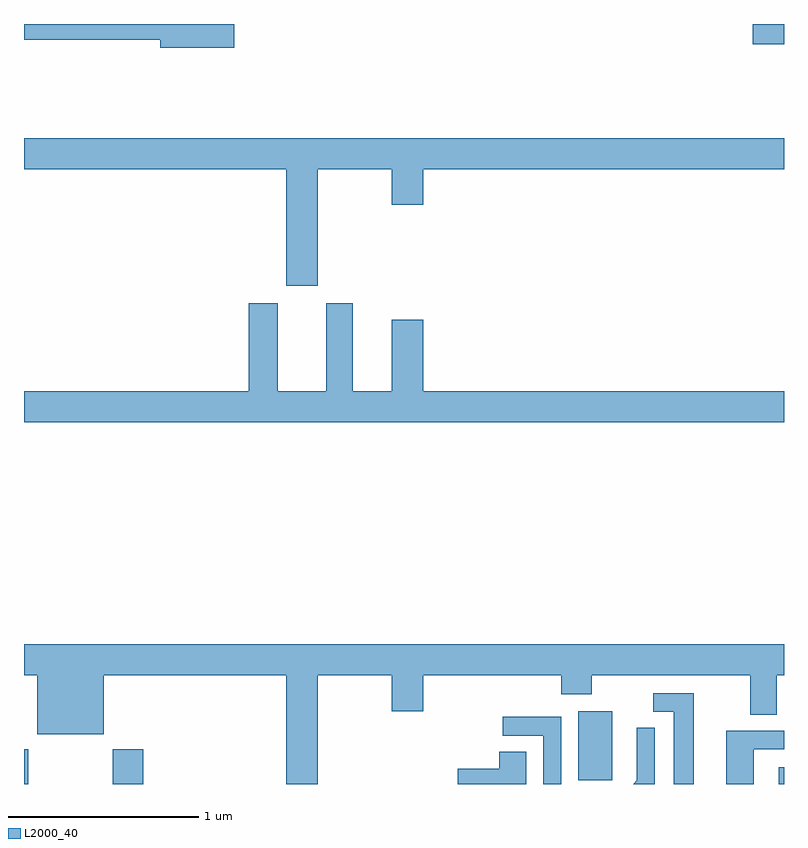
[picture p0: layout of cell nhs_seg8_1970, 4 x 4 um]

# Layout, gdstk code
import gdstk
lib = gdstk.Library(unit=1e-6, precision=1e-09)
def R(c, l, rs):  # rectangles x0, y0, x1, y1
    for r in rs: c.add(gdstk.rectangle(r[:2], r[2:], *l))
def P(c, l, *ps):  # polygons
    for p in ps: c.add(gdstk.Polygon(p, *l))
L2000_40 = (2000, 40)

nhs_seg8_1970 = lib.new_cell('nhs_seg8_1970')
R(nhs_seg8_1970, L2000_40, [(235,1143.9,235.023,1144.084), (235.468,1143.9,235.628,1144.084), (238.973,1143.9,239,1143.988), (237.917,1143.921,238.096,1144.282), (238.836,1147.793,239,1147.9)])
P(nhs_seg8_1970, L2000_40, [(236.107,1147.9),(235,1147.9),(235,1147.816),(235.718,1147.816),(235.718,1147.774),(236.107,1147.774)],
  [(236.545,1147.136),(236.936,1147.136),(236.936,1146.948),(237.1,1146.948),(237.1,1147.136),(239,1147.136),(239,1147.3),(235,1147.3),(235,1147.136),(236.381,1147.136),(236.381,1146.522),(236.545,1146.522)],
  [(239,1145.968),(237.1,1145.968),(237.1,1146.343),(236.936,1146.343),(236.936,1145.968),(236.731,1145.968),(236.731,1146.43),(236.591,1146.43),(236.591,1145.968),(236.335,1145.968),(236.335,1146.43),(236.183,1146.43),(236.183,1145.968),(235,1145.968),(235,1145.804),(239,1145.804)],
  [(236.545,1144.472),(236.936,1144.472),(236.936,1144.284),(237.1,1144.284),(237.1,1144.472),(237.827,1144.472),(237.827,1144.373),(237.987,1144.373),(237.987,1144.472),(238.823,1144.472),(238.823,1144.264),(238.963,1144.264),(238.963,1144.472),(239,1144.472),(239,1144.636),(235,1144.636),(235,1144.472),(235.07,1144.472),(235.07,1144.163),(235.42,1144.163),(235.42,1144.472),(236.381,1144.472),(236.381,1143.9),(236.545,1143.9)],
  [(238.525,1144.377),(238.311,1144.377),(238.311,1144.281),(238.421,1144.281),(238.421,1143.9),(238.525,1143.9)],
  [(237.828,1144.254),(237.519,1144.254),(237.519,1144.155),(237.732,1144.155),(237.732,1143.9),(237.828,1143.9)],
  [(238.32,1144.196),(238.224,1144.196),(238.224,1144.042),(238.226,1144.042),(238.226,1143.92),(238.206,1143.9),(238.32,1143.9)],
  [(238.842,1144.083),(239,1144.083),(239,1144.179),(238.697,1144.179),(238.697,1143.9),(238.842,1143.9)],
  [(237.643,1144.07),(237.5,1144.07),(237.5,1143.98),(237.282,1143.98),(237.282,1143.9),(237.643,1143.9)])

lib.write_gds('nhs_seg8_1970.gds')
